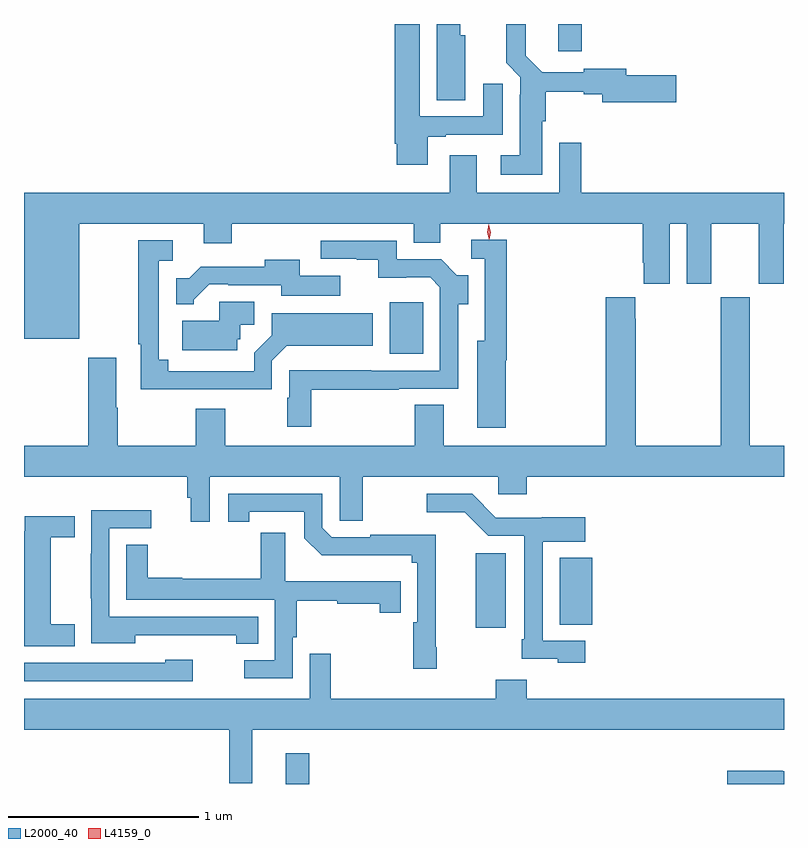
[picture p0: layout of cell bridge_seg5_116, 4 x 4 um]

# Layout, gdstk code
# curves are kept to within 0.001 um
import gdstk
lib = gdstk.Library(unit=1e-6, precision=1e-09)
def R(c, l, rs):  # rectangles x0, y0, x1, y1
    for r in rs: c.add(gdstk.rectangle(r[:2], r[2:], *l))
def P(c, l, *ps):  # polygons
    for p in ps: c.add(gdstk.Polygon(p, *l))
L2000_40 = (2000, 40)
L4159_0 = (4159, 0)

bridge_seg5_116 = lib.new_cell('bridge_seg5_116')
R(bridge_seg5_116, L2000_40, [(437.849,864.467,437.971,864.628), (438.848,865.29,439.006,865.681), (439.292,865.306,439.463,865.657), (438.395,866.732,438.571,867.003), (439.283,868.323,439.406,868.467)])
P(bridge_seg5_116, L2000_40, [(438.595,867.873),(438.691,867.873),(438.691,867.885),(438.991,867.885),(438.991,868.153),(438.887,868.153),(438.887,867.981),(438.553,867.981),(438.553,868.467),(438.422,868.467),(438.422,867.838),(438.434,867.838),(438.434,867.726),(438.595,867.726)],
  [(438.793,868.407),(438.766,868.407),(438.766,868.467),(438.644,868.467),(438.644,868.066),(438.793,868.066)],
  [(439.198,867.954),(439.216,867.954),(439.216,868.111),(439.418,868.111),(439.418,868.096),(439.514,868.096),(439.514,868.054),(439.903,868.054),(439.903,868.196),(439.642,868.196),(439.642,868.232),(439.418,868.232),(439.418,868.212),(439.198,868.212),(439.111,868.3),(439.111,868.467),(439.009,868.467),(439.009,868.262),(439.083,868.188),(439.083,868.094),(439.079,868.094),(439.079,867.775),(438.981,867.775),(438.981,867.674),(439.198,867.674)],
  [(436.762,867.416),(437.417,867.416),(437.417,867.314),(437.565,867.314),(437.565,867.416),(438.521,867.416),(438.521,867.317),(438.661,867.317),(438.661,867.416),(439.727,867.416),(439.727,867.211),(439.733,867.211),(439.733,867.099),(439.87,867.099),(439.87,867.416),(439.958,867.416),(439.958,867.099),(440.089,867.099),(440.089,867.416),(440.339,867.416),(440.339,867.099),(440.47,867.099),(440.47,867.416),(440.471,867.416),(440.471,867.58),(439.403,867.58),(439.403,867.841),(439.287,867.841),(439.287,867.58),(438.853,867.58),(438.853,867.775),(438.713,867.775),(438.713,867.58),(436.471,867.58),(436.471,866.81),(436.762,866.81)],
  [(439.007,866.696),(439.013,866.696),(439.013,867.331),(438.825,867.331),(438.825,867.231),(438.897,867.231),(438.897,866.8),(438.857,866.8),(438.857,866.343),(439.007,866.343)],
  [(437.775,866.694),(437.855,866.774),(438.307,866.774),(438.307,866.944),(437.775,866.944),(437.775,866.83),(437.682,866.737),(437.682,866.64),(437.229,866.64),(437.229,866.699),(437.181,866.699),(437.181,867.222),(437.254,867.222),(437.254,867.328),(437.073,867.328),(437.073,866.782),(437.085,866.782),(437.085,866.544),(437.775,866.544)],
  [(437.984,866.542),(438.443,866.542),(438.443,866.547),(438.756,866.547),(438.756,866.993),(438.808,866.993),(438.808,867.145),(438.749,867.145),(438.666,867.228),(438.432,867.228),(438.432,867.327),(438.033,867.327),(438.033,867.231),(438.223,867.231),(438.223,867.226),(438.335,867.226),(438.335,867.132),(438.483,867.132),(438.483,867.134),(438.608,867.134),(438.66,867.081),(438.66,866.643),(437.868,866.644),(437.868,866.499),(437.856,866.499),(437.856,866.346),(437.984,866.346)],
  [(437.364,867.015),(437.445,867.096),(437.545,867.096),(437.545,867.093),(437.826,867.093),(437.826,867.038),(438.136,867.038),(438.136,867.142),(437.922,867.142),(437.922,867.226),(437.738,867.226),(437.738,867.19),(437.401,867.19),(437.34,867.129),(437.271,867.129),(437.271,866.993),(437.364,866.993)],
  [(438.679,866.462),(438.527,866.462),(438.527,866.248),(437.529,866.248),(437.529,866.443),(437.374,866.443),(437.374,866.248),(436.965,866.248),(436.965,866.447),(436.957,866.447),(436.957,866.71),(436.81,866.71),(436.81,866.248),(436.471,866.248),(436.471,866.084),(437.331,866.084),(437.331,865.974),(437.348,865.974),(437.348,865.848),(437.449,865.848),(437.449,866.084),(438.132,866.084),(438.132,865.852),(438.255,865.852),(438.255,866.084),(438.966,866.084),(438.966,865.991),(439.118,865.991),(439.118,866.084),(440.471,866.084),(440.471,866.248),(440.292,866.248),(440.292,867.028),(440.137,867.028),(440.137,866.248),(439.692,866.248),(439.692,866.915),(439.687,866.915),(439.687,867.028),(439.532,867.028),(439.532,866.248),(438.679,866.248)],
  [(437.593,866.808),(437.609,866.808),(437.609,866.883),(437.683,866.883),(437.683,867.004),(437.498,867.004),(437.498,866.905),(437.304,866.905),(437.304,866.75),(437.593,866.75)],
  [(439.426,865.221),(439.2,865.221),(439.2,865.742),(439.426,865.742),(439.426,865.87),(438.955,865.869),(438.829,865.995),(438.591,865.995),(438.591,865.898),(438.79,865.898),(438.915,865.773),(439.104,865.773),(439.104,865.228),(439.092,865.228),(439.092,865.125),(439.281,865.125),(439.281,865.106),(439.426,865.106)],
  [(438.644,865.186),(438.638,865.186),(438.638,865.78),(438.293,865.78),(438.293,865.767),(438.09,865.767),(438.042,865.815),(438.042,865.995),(437.547,865.995),(437.547,865.848),(437.656,865.848),(437.656,865.899),(437.946,865.899),(437.946,865.761),(438.037,865.67),(438.512,865.67),(438.512,865.632),(438.54,865.632),(438.54,865.318),(438.52,865.318),(438.52,865.074),(438.644,865.074)],
  [(437.705,865.347),(436.92,865.347),(436.92,865.812),(437.14,865.812),(437.14,865.909),(436.824,865.909),(436.824,865.679),(436.823,865.679),(436.823,865.444),(436.824,865.444),(436.824,865.208),(437.056,865.208),(437.056,865.25),(437.587,865.25),(437.587,865.204),(437.705,865.204)],
  [(436.739,865.308),(436.612,865.308),(436.612,865.765),(436.739,865.765),(436.739,865.876),(436.475,865.876),(436.475,865.796),(436.471,865.796),(436.471,865.675),(436.472,865.675),(436.472,865.193),(436.739,865.193)],
  [(437.886,865.24),(437.906,865.24),(437.906,865.432),(438.12,865.432),(438.12,865.417),(438.344,865.417),(438.344,865.368),(438.455,865.368),(438.455,865.534),(437.845,865.534),(437.845,865.789),(437.717,865.789),(437.717,865.546),(437.303,865.546),(437.303,865.553),(437.122,865.553),(437.122,865.727),(437.01,865.727),(437.01,865.437),(437.79,865.437),(437.79,865.119),(437.631,865.119),(437.631,865.023),(437.886,865.023)],
  [(437.671,864.752),(440.471,864.752),(440.471,864.916),(439.118,864.916),(439.118,865.015),(438.953,865.015),(438.953,864.916),(438.085,864.916),(438.085,865.153),(437.976,865.153),(437.976,864.916),(436.471,864.916),(436.471,864.752),(437.55,864.752),(437.55,864.471),(437.671,864.471)],
  [(437.359,865.12),(437.214,865.12),(437.214,865.104),(436.471,865.104),(436.471,865.008),(437.359,865.008)],
  [(440.471,864.534),(440.465,864.534),(440.465,864.536),(440.173,864.536),(440.173,864.467),(440.471,864.467)])
P(bridge_seg5_116, L4159_0, [(438.919,867.331),(438.919,867.331),(438.908,867.372),(438.917,867.413),(438.918,867.413),(438.918,867.413),(438.928,867.372),(438.919,867.331)])

lib.write_gds('bridge_seg5_116.gds')
